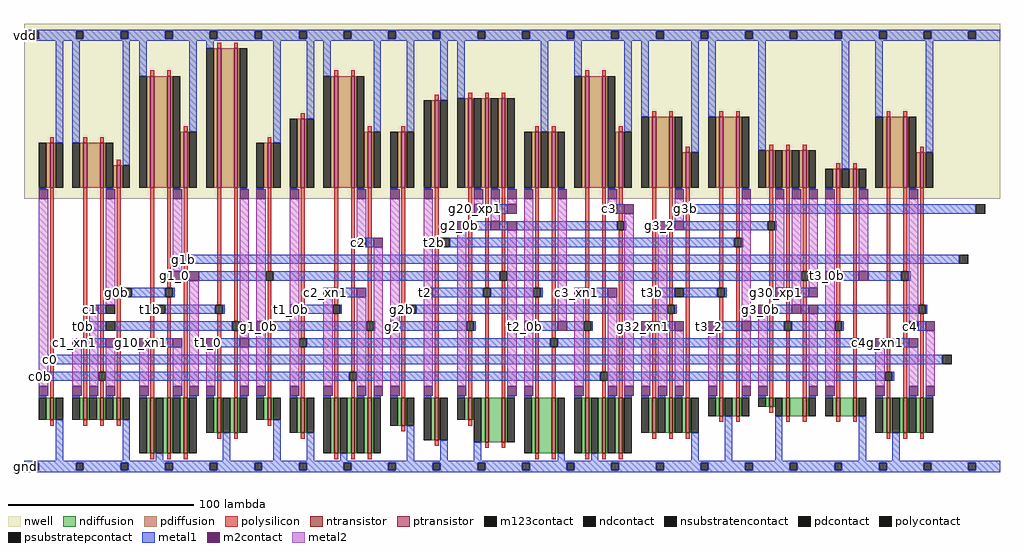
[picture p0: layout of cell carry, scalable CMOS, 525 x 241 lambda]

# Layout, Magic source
magic
tech scmos
<< nwell >>
rect 0 147 525 241
<< ntransistor >>
rect 14 28 16 40
rect 32 28 34 40
rect 41 28 43 40
rect 50 28 52 40
rect 68 10 70 40
rect 77 10 79 40
rect 86 10 88 40
rect 104 21 106 40
rect 113 21 115 40
rect 131 28 133 40
rect 149 21 151 40
rect 167 10 169 40
rect 176 10 178 40
rect 185 10 187 40
rect 203 25 205 40
rect 221 17 223 40
rect 239 28 241 40
rect 248 16 250 40
rect 257 16 259 40
rect 275 10 277 40
rect 284 10 286 40
rect 302 10 304 40
rect 311 10 313 40
rect 320 10 322 40
rect 338 21 340 40
rect 347 21 349 40
rect 356 21 358 40
rect 374 30 376 40
rect 383 30 385 40
rect 401 35 403 40
rect 410 30 412 40
rect 419 30 421 40
rect 437 30 439 40
rect 446 30 448 40
rect 464 21 466 40
rect 473 21 475 40
rect 482 21 484 40
<< ptransistor >>
rect 14 153 16 177
rect 32 153 34 177
rect 41 153 43 177
rect 50 153 52 165
rect 68 153 70 213
rect 77 153 79 213
rect 86 153 88 183
rect 104 153 106 228
rect 113 153 115 228
rect 131 153 133 177
rect 149 153 151 190
rect 167 153 169 213
rect 176 153 178 213
rect 185 153 187 183
rect 203 153 205 183
rect 221 153 223 200
rect 239 153 241 201
rect 248 153 250 201
rect 257 153 259 201
rect 275 153 277 183
rect 284 153 286 183
rect 302 153 304 213
rect 311 153 313 213
rect 320 153 322 183
rect 338 153 340 191
rect 347 153 349 191
rect 356 153 358 172
rect 374 153 376 191
rect 383 153 385 191
rect 401 153 403 173
rect 410 153 412 173
rect 419 153 421 173
rect 437 153 439 163
rect 446 153 448 163
rect 464 153 466 191
rect 473 153 475 191
rect 482 153 484 172
<< ndiffusion >>
rect 12 28 14 40
rect 16 28 17 40
rect 30 28 32 40
rect 34 28 35 40
rect 39 28 41 40
rect 43 28 44 40
rect 48 28 50 40
rect 52 28 53 40
rect 66 10 68 40
rect 70 10 71 40
rect 75 10 77 40
rect 79 10 80 40
rect 84 10 86 40
rect 88 10 89 40
rect 102 21 104 40
rect 106 21 107 40
rect 111 21 113 40
rect 115 21 116 40
rect 129 28 131 40
rect 133 28 134 40
rect 147 21 149 40
rect 151 21 152 40
rect 165 10 167 40
rect 169 10 170 40
rect 174 10 176 40
rect 178 10 179 40
rect 183 10 185 40
rect 187 10 188 40
rect 201 25 203 40
rect 205 25 206 40
rect 219 17 221 40
rect 223 17 224 40
rect 237 28 239 40
rect 241 28 242 40
rect 246 16 248 40
rect 250 16 257 40
rect 259 16 260 40
rect 273 10 275 40
rect 277 10 284 40
rect 286 10 287 40
rect 300 10 302 40
rect 304 10 305 40
rect 309 10 311 40
rect 313 10 314 40
rect 318 10 320 40
rect 322 10 323 40
rect 336 21 338 40
rect 340 21 341 40
rect 345 21 347 40
rect 349 21 350 40
rect 354 21 356 40
rect 358 21 359 40
rect 372 30 374 40
rect 376 30 377 40
rect 381 30 383 40
rect 385 30 386 40
rect 399 35 401 40
rect 403 35 404 40
rect 408 30 410 40
rect 412 30 419 40
rect 421 30 422 40
rect 435 30 437 40
rect 439 30 446 40
rect 448 30 449 40
rect 462 21 464 40
rect 466 21 467 40
rect 471 21 473 40
rect 475 21 476 40
rect 480 21 482 40
rect 484 21 485 40
<< pdiffusion >>
rect 12 153 14 177
rect 16 153 17 177
rect 30 153 32 177
rect 34 153 41 177
rect 43 153 44 177
rect 48 153 50 165
rect 52 153 53 165
rect 66 153 68 213
rect 70 153 77 213
rect 79 153 80 213
rect 84 153 86 183
rect 88 153 89 183
rect 102 153 104 228
rect 106 153 113 228
rect 115 153 116 228
rect 129 153 131 177
rect 133 153 134 177
rect 147 153 149 190
rect 151 153 152 190
rect 165 153 167 213
rect 169 153 176 213
rect 178 153 179 213
rect 183 153 185 183
rect 187 153 188 183
rect 201 153 203 183
rect 205 153 206 183
rect 219 153 221 200
rect 223 153 224 200
rect 237 153 239 201
rect 241 153 242 201
rect 246 153 248 201
rect 250 153 251 201
rect 255 153 257 201
rect 259 153 260 201
rect 273 153 275 183
rect 277 153 278 183
rect 282 153 284 183
rect 286 153 287 183
rect 300 153 302 213
rect 304 153 311 213
rect 313 153 314 213
rect 318 153 320 183
rect 322 153 323 183
rect 336 153 338 191
rect 340 153 347 191
rect 349 153 350 191
rect 354 153 356 172
rect 358 153 359 172
rect 372 153 374 191
rect 376 153 383 191
rect 385 153 386 191
rect 399 153 401 173
rect 403 153 404 173
rect 408 153 410 173
rect 412 153 413 173
rect 417 153 419 173
rect 421 153 422 173
rect 435 153 437 163
rect 439 153 440 163
rect 444 153 446 163
rect 448 153 449 163
rect 462 153 464 191
rect 466 153 473 191
rect 475 153 476 191
rect 480 153 482 172
rect 484 153 485 172
<< ndcontact >>
rect 8 28 12 40
rect 17 28 21 40
rect 26 28 30 40
rect 35 28 39 40
rect 44 28 48 40
rect 53 28 57 40
rect 62 10 66 40
rect 71 10 75 40
rect 80 10 84 40
rect 89 10 93 40
rect 98 21 102 40
rect 107 21 111 40
rect 116 21 120 40
rect 125 28 129 40
rect 134 28 138 40
rect 143 21 147 40
rect 152 21 156 40
rect 161 10 165 40
rect 170 10 174 40
rect 179 10 183 40
rect 188 10 192 40
rect 197 25 201 40
rect 206 25 210 40
rect 215 17 219 40
rect 224 17 228 40
rect 233 28 237 40
rect 242 16 246 40
rect 260 16 264 40
rect 269 10 273 40
rect 287 10 291 40
rect 296 10 300 40
rect 305 10 309 40
rect 314 10 318 40
rect 323 10 327 40
rect 332 21 336 40
rect 341 21 345 40
rect 350 21 354 40
rect 359 21 363 40
rect 368 30 372 40
rect 377 30 381 40
rect 386 30 390 40
rect 395 35 399 40
rect 404 30 408 40
rect 422 30 426 40
rect 431 30 435 40
rect 449 30 453 40
rect 458 21 462 40
rect 467 21 471 40
rect 476 21 480 40
rect 485 21 489 40
<< pdcontact >>
rect 8 153 12 177
rect 17 153 21 177
rect 26 153 30 177
rect 44 153 48 177
rect 53 153 57 165
rect 62 153 66 213
rect 80 153 84 213
rect 89 153 93 183
rect 98 153 102 228
rect 116 153 120 228
rect 125 153 129 177
rect 134 153 138 177
rect 143 153 147 190
rect 152 153 156 190
rect 161 153 165 213
rect 179 153 183 213
rect 188 153 192 183
rect 197 153 201 183
rect 206 153 210 183
rect 215 153 219 200
rect 224 153 228 200
rect 233 153 237 201
rect 242 153 246 201
rect 251 153 255 201
rect 260 153 264 201
rect 269 153 273 183
rect 278 153 282 183
rect 287 153 291 183
rect 296 153 300 213
rect 314 153 318 213
rect 323 153 327 183
rect 332 153 336 191
rect 350 153 354 191
rect 359 153 363 172
rect 368 153 372 191
rect 386 153 390 191
rect 395 153 399 173
rect 404 153 408 173
rect 413 153 417 173
rect 422 153 426 173
rect 431 153 435 163
rect 440 153 444 163
rect 449 153 453 163
rect 458 153 462 191
rect 476 153 480 191
rect 485 153 489 172
<< psubstratepcontact >>
rect 4 1 8 5
rect 28 1 32 5
rect 52 1 56 5
rect 76 1 80 5
rect 100 1 104 5
rect 124 1 128 5
rect 148 1 152 5
rect 172 1 176 5
rect 196 1 200 5
rect 220 1 224 5
rect 244 1 248 5
rect 268 1 272 5
rect 292 1 296 5
rect 316 1 320 5
rect 340 1 344 5
rect 364 1 368 5
rect 388 1 392 5
rect 412 1 416 5
rect 436 1 440 5
rect 460 1 464 5
rect 484 1 488 5
rect 508 1 512 5
<< nsubstratencontact >>
rect 4 233 8 237
rect 28 233 32 237
rect 52 233 56 237
rect 76 233 80 237
rect 100 233 104 237
rect 124 233 128 237
rect 148 233 152 237
rect 172 233 176 237
rect 196 233 200 237
rect 220 233 224 237
rect 244 233 248 237
rect 268 233 272 237
rect 292 233 296 237
rect 316 233 320 237
rect 340 233 344 237
rect 364 233 368 237
rect 388 233 392 237
rect 412 233 416 237
rect 436 233 440 237
rect 460 233 464 237
rect 484 233 488 237
rect 508 233 512 237
<< polysilicon >>
rect 104 228 106 231
rect 113 228 115 231
rect 68 213 70 216
rect 77 213 79 216
rect 14 177 16 180
rect 32 177 34 180
rect 41 177 43 180
rect 50 165 52 168
rect 86 183 88 186
rect 167 213 169 216
rect 176 213 178 216
rect 302 213 304 216
rect 311 213 313 216
rect 149 190 151 193
rect 131 177 133 180
rect 221 200 223 203
rect 239 201 241 204
rect 248 201 250 204
rect 257 201 259 204
rect 185 183 187 186
rect 203 183 205 186
rect 275 183 277 186
rect 284 183 286 186
rect 338 191 340 194
rect 347 191 349 194
rect 374 191 376 194
rect 383 191 385 194
rect 464 191 466 194
rect 473 191 475 194
rect 320 183 322 186
rect 356 172 358 175
rect 401 173 403 176
rect 410 173 412 176
rect 419 173 421 176
rect 437 163 439 166
rect 446 163 448 166
rect 482 172 484 175
rect 14 63 16 153
rect 32 81 34 153
rect 14 40 16 58
rect 32 40 34 76
rect 41 54 43 153
rect 50 99 52 153
rect 41 40 43 49
rect 50 40 52 94
rect 68 90 70 153
rect 77 99 79 153
rect 86 117 88 153
rect 68 40 70 85
rect 77 40 79 94
rect 86 40 88 112
rect 104 90 106 153
rect 104 40 106 85
rect 113 81 115 153
rect 131 108 133 153
rect 113 40 115 76
rect 131 40 133 103
rect 149 72 151 153
rect 167 90 169 153
rect 149 40 151 67
rect 167 40 169 85
rect 176 54 178 153
rect 185 81 187 153
rect 203 90 205 153
rect 221 126 223 153
rect 176 40 178 49
rect 185 40 187 76
rect 203 40 205 85
rect 221 40 223 121
rect 239 81 241 153
rect 248 99 250 153
rect 257 108 259 153
rect 239 40 241 76
rect 248 40 250 94
rect 257 40 259 103
rect 275 99 277 153
rect 275 40 277 94
rect 284 72 286 153
rect 302 81 304 153
rect 284 40 286 67
rect 302 40 304 76
rect 311 54 313 153
rect 320 135 322 153
rect 311 40 313 49
rect 320 40 322 130
rect 338 99 340 153
rect 338 40 340 94
rect 347 90 349 153
rect 356 144 358 153
rect 347 40 349 85
rect 356 40 358 139
rect 374 99 376 153
rect 383 126 385 153
rect 401 135 403 153
rect 374 40 376 94
rect 383 40 385 121
rect 401 40 403 130
rect 410 81 412 153
rect 419 108 421 153
rect 410 40 412 76
rect 419 40 421 103
rect 437 81 439 153
rect 437 40 439 76
rect 446 72 448 153
rect 446 40 448 67
rect 464 54 466 153
rect 473 108 475 153
rect 464 40 466 49
rect 473 40 475 103
rect 482 90 484 153
rect 482 40 484 85
rect 14 25 16 28
rect 32 25 34 28
rect 41 25 43 28
rect 50 25 52 28
rect 131 25 133 28
rect 104 18 106 21
rect 113 18 115 21
rect 149 18 151 21
rect 203 22 205 25
rect 239 25 241 28
rect 221 14 223 17
rect 248 13 250 16
rect 257 13 259 16
rect 401 32 403 35
rect 374 27 376 30
rect 383 27 385 30
rect 410 27 412 30
rect 419 27 421 30
rect 437 27 439 30
rect 446 27 448 30
rect 338 18 340 21
rect 347 18 349 21
rect 356 18 358 21
rect 464 18 466 21
rect 473 18 475 21
rect 482 18 484 21
rect 68 7 70 10
rect 77 7 79 10
rect 86 7 88 10
rect 167 7 169 10
rect 176 7 178 10
rect 185 7 187 10
rect 275 7 277 10
rect 284 7 286 10
rect 302 7 304 10
rect 311 7 313 10
rect 320 7 322 10
<< polycontact >>
rect 31 76 35 81
rect 13 58 17 63
rect 49 94 53 99
rect 40 49 44 54
rect 85 112 89 117
rect 76 94 80 99
rect 67 85 71 90
rect 103 85 107 90
rect 130 103 134 108
rect 112 76 116 81
rect 166 85 170 90
rect 148 67 152 72
rect 220 121 224 126
rect 202 85 206 90
rect 184 76 188 81
rect 175 49 179 54
rect 256 103 260 108
rect 247 94 251 99
rect 238 76 242 81
rect 274 94 278 99
rect 301 76 305 81
rect 283 67 287 72
rect 319 130 323 135
rect 310 49 314 54
rect 337 94 341 99
rect 355 139 359 144
rect 346 85 350 90
rect 400 130 404 135
rect 382 121 386 126
rect 373 94 377 99
rect 418 103 422 108
rect 409 76 413 81
rect 436 76 440 81
rect 445 67 449 72
rect 472 103 476 108
rect 463 49 467 54
rect 481 85 485 90
<< metal1 >>
rect 0 237 525 238
rect 0 233 4 237
rect 8 233 28 237
rect 32 233 52 237
rect 56 233 76 237
rect 80 233 100 237
rect 104 233 124 237
rect 128 233 148 237
rect 152 233 172 237
rect 176 233 196 237
rect 200 233 220 237
rect 224 233 244 237
rect 248 233 268 237
rect 272 233 292 237
rect 296 233 316 237
rect 320 233 340 237
rect 344 233 364 237
rect 368 233 388 237
rect 392 233 412 237
rect 416 233 436 237
rect 440 233 460 237
rect 464 233 484 237
rect 488 233 508 237
rect 512 233 525 237
rect 0 232 525 233
rect 17 177 21 232
rect 26 177 30 232
rect 53 165 57 232
rect 62 213 66 232
rect 89 183 93 232
rect 98 228 102 232
rect 134 177 138 232
rect 152 190 156 232
rect 8 152 12 153
rect 44 152 48 153
rect 80 152 84 153
rect 116 152 120 153
rect 161 213 165 232
rect 188 183 192 232
rect 206 183 210 232
rect 224 200 228 232
rect 233 201 237 232
rect 125 152 129 153
rect 143 152 147 153
rect 179 152 183 153
rect 197 152 201 153
rect 215 152 219 153
rect 242 152 246 153
rect 251 152 255 153
rect 278 183 282 232
rect 296 213 300 232
rect 260 152 264 153
rect 323 183 327 232
rect 332 191 336 232
rect 359 172 363 232
rect 368 191 372 232
rect 395 173 399 232
rect 269 152 273 153
rect 287 152 291 153
rect 314 152 318 153
rect 350 152 354 153
rect 386 152 390 153
rect 404 152 408 153
rect 413 152 417 153
rect 440 163 444 232
rect 458 191 462 232
rect 422 152 426 153
rect 485 172 489 232
rect 431 152 435 153
rect 449 152 453 153
rect 476 152 480 153
rect 247 139 260 144
rect 319 139 323 144
rect 359 139 512 144
rect 238 130 251 135
rect 256 130 260 135
rect 265 130 319 135
rect 323 130 324 135
rect 346 130 350 135
rect 355 130 400 135
rect 404 130 405 135
rect 184 121 188 126
rect 229 121 382 126
rect 386 121 387 126
rect 89 112 503 117
rect 85 103 89 108
rect 94 103 130 108
rect 134 103 256 108
rect 260 103 418 108
rect 422 103 423 108
rect 436 103 449 108
rect 454 103 472 108
rect 476 103 477 108
rect 58 94 76 99
rect 80 94 81 99
rect 166 94 179 99
rect 220 94 247 99
rect 251 94 274 99
rect 278 94 279 99
rect 301 94 314 99
rect 341 94 350 99
rect 355 94 373 99
rect 377 94 378 99
rect 409 94 422 99
rect 40 85 44 90
rect 76 85 103 90
rect 107 85 108 90
rect 148 85 166 90
rect 170 85 171 90
rect 211 85 346 90
rect 350 85 351 90
rect 400 85 413 90
rect 418 85 422 90
rect 427 85 481 90
rect 485 85 486 90
rect 35 76 44 81
rect 49 76 112 81
rect 116 76 117 81
rect 130 76 184 81
rect 188 76 189 81
rect 202 76 238 81
rect 242 76 243 81
rect 274 76 287 81
rect 292 76 301 81
rect 305 76 306 81
rect 337 76 350 81
rect 373 76 386 81
rect 391 76 409 81
rect 413 76 436 81
rect 440 76 441 81
rect 481 76 485 81
rect 31 67 44 72
rect 67 67 80 72
rect 103 67 116 72
rect 121 67 148 72
rect 152 67 283 72
rect 287 67 445 72
rect 449 67 450 72
rect 463 67 476 72
rect 17 58 494 63
rect 13 49 40 54
rect 44 49 175 54
rect 179 49 310 54
rect 314 49 463 54
rect 467 49 468 54
rect 8 40 12 41
rect 26 40 30 41
rect 35 40 39 41
rect 44 40 48 41
rect 62 40 66 41
rect 80 40 84 41
rect 17 6 21 28
rect 53 6 57 28
rect 89 40 93 41
rect 98 40 102 41
rect 116 40 120 41
rect 125 40 129 41
rect 143 40 147 41
rect 161 40 165 41
rect 179 40 183 41
rect 71 6 75 10
rect 107 6 111 21
rect 134 6 138 28
rect 152 6 156 21
rect 188 40 192 41
rect 197 40 201 41
rect 215 40 219 41
rect 233 40 237 41
rect 260 40 264 41
rect 170 6 174 10
rect 206 6 210 25
rect 224 6 228 17
rect 269 40 273 41
rect 296 40 300 41
rect 314 40 318 41
rect 242 6 246 16
rect 323 40 327 41
rect 332 40 336 41
rect 341 40 345 41
rect 350 40 354 41
rect 368 40 372 41
rect 386 40 390 41
rect 395 40 399 41
rect 422 40 426 41
rect 431 40 435 41
rect 458 40 462 41
rect 476 40 480 41
rect 287 6 291 10
rect 305 6 309 10
rect 359 6 363 21
rect 377 6 381 30
rect 404 6 408 30
rect 449 6 453 30
rect 485 40 489 41
rect 467 6 471 21
rect 0 5 525 6
rect 0 1 4 5
rect 8 1 28 5
rect 32 1 52 5
rect 56 1 76 5
rect 80 1 100 5
rect 104 1 124 5
rect 128 1 148 5
rect 152 1 172 5
rect 176 1 196 5
rect 200 1 220 5
rect 224 1 244 5
rect 248 1 268 5
rect 272 1 292 5
rect 296 1 316 5
rect 320 1 340 5
rect 344 1 364 5
rect 368 1 388 5
rect 392 1 412 5
rect 416 1 436 5
rect 440 1 460 5
rect 464 1 484 5
rect 488 1 508 5
rect 512 1 525 5
rect 0 0 525 1
<< m2contact >>
rect 8 147 13 152
rect 44 147 49 152
rect 80 147 85 152
rect 116 147 121 152
rect 125 147 130 152
rect 143 147 148 152
rect 179 147 184 152
rect 197 147 202 152
rect 215 147 220 152
rect 242 147 247 152
rect 251 147 256 152
rect 260 147 265 152
rect 269 147 274 152
rect 287 147 292 152
rect 314 147 319 152
rect 350 147 355 152
rect 386 147 391 152
rect 404 147 409 152
rect 413 147 418 152
rect 422 147 427 152
rect 431 147 436 152
rect 449 147 454 152
rect 476 147 481 152
rect 242 139 247 144
rect 260 139 265 144
rect 323 139 328 144
rect 233 130 238 135
rect 251 130 256 135
rect 260 130 265 135
rect 341 130 346 135
rect 350 130 355 135
rect 188 121 193 126
rect 80 103 85 108
rect 89 103 94 108
rect 431 103 436 108
rect 449 103 454 108
rect 161 94 166 99
rect 179 94 184 99
rect 215 94 220 99
rect 296 94 301 99
rect 314 94 319 99
rect 404 94 409 99
rect 422 94 427 99
rect 35 85 40 90
rect 143 85 148 90
rect 395 85 400 90
rect 413 85 418 90
rect 422 85 427 90
rect 125 76 130 81
rect 197 76 202 81
rect 269 76 274 81
rect 287 76 292 81
rect 332 76 337 81
rect 350 76 355 81
rect 368 76 373 81
rect 386 76 391 81
rect 485 76 490 81
rect 26 67 31 72
rect 44 67 49 72
rect 62 67 67 72
rect 80 67 85 72
rect 98 67 103 72
rect 116 67 121 72
rect 458 67 463 72
rect 476 67 481 72
rect 8 49 13 54
rect 8 41 13 46
rect 26 41 31 46
rect 35 41 40 46
rect 44 41 49 46
rect 62 41 67 46
rect 80 41 85 46
rect 89 41 94 46
rect 98 41 103 46
rect 116 41 121 46
rect 125 41 130 46
rect 143 41 148 46
rect 161 41 166 46
rect 179 41 184 46
rect 188 41 193 46
rect 197 41 202 46
rect 215 41 220 46
rect 233 41 238 46
rect 260 41 265 46
rect 269 41 274 46
rect 296 41 301 46
rect 314 41 319 46
rect 323 41 328 46
rect 332 41 337 46
rect 341 41 346 46
rect 350 41 355 46
rect 368 41 373 46
rect 386 41 391 46
rect 395 41 400 46
rect 422 41 427 46
rect 431 41 436 46
rect 458 41 463 46
rect 476 41 481 46
rect 485 41 490 46
<< metal2 >>
rect 8 54 13 147
rect 44 90 49 147
rect 80 108 85 147
rect 8 46 13 49
rect 26 46 31 67
rect 35 46 40 85
rect 44 46 49 67
rect 62 46 67 67
rect 80 46 85 67
rect 89 46 94 103
rect 116 72 121 147
rect 98 46 103 67
rect 116 46 121 67
rect 125 81 130 147
rect 125 46 130 76
rect 143 90 148 147
rect 179 126 184 147
rect 143 46 148 85
rect 161 46 166 94
rect 179 46 184 94
rect 188 46 193 121
rect 197 81 202 147
rect 215 99 220 147
rect 242 144 247 147
rect 251 135 256 147
rect 260 144 265 147
rect 197 46 202 76
rect 215 46 220 94
rect 233 46 238 130
rect 260 46 265 130
rect 269 81 274 147
rect 287 81 292 147
rect 314 144 319 147
rect 269 46 274 76
rect 296 46 301 94
rect 314 46 319 94
rect 323 46 328 139
rect 350 135 355 147
rect 332 46 337 76
rect 341 46 346 130
rect 386 81 391 147
rect 404 99 409 147
rect 413 90 418 147
rect 422 99 427 147
rect 431 108 436 147
rect 449 108 454 147
rect 350 46 355 76
rect 368 46 373 76
rect 386 46 391 76
rect 395 46 400 85
rect 422 46 427 85
rect 431 46 436 103
rect 476 81 481 147
rect 458 46 463 67
rect 476 46 481 67
rect 485 46 490 76
<< m123contact >>
rect 53 94 58 99
rect 44 85 49 90
rect 71 85 76 90
rect 44 76 49 81
rect 179 121 184 126
rect 224 121 229 126
rect 206 85 211 90
rect 314 139 319 144
rect 350 94 355 99
rect 512 139 517 144
rect 503 112 508 117
rect 476 76 481 81
rect 494 58 499 63
<< labels >>
rlabel metal1 13 58 15 63 0 c0
port 1 nsew
rlabel m2contact 35 85 37 90 0 c1
port 2 nsew
rlabel metal1 179 121 181 126 0 c2
port 3 nsew
rlabel metal1 314 139 316 144 0 c3
port 4 nsew
rlabel metal1 476 76 478 81 0 c4
port 5 nsew
rlabel metal1 49 94 51 99 0 g0b
port 6 nsew
rlabel metal1 85 112 87 117 0 g1b
port 7 nsew
rlabel metal1 202 85 204 90 0 g2b
port 8 nsew
rlabel metal1 355 139 357 144 0 g3b
port 9 nsew
rlabel metal1 31 76 33 81 0 t0b
port 10 nsew
rlabel metal1 67 85 69 90 0 t1b
port 11 nsew
rlabel metal1 220 121 222 126 0 t2b
port 12 nsew
rlabel metal1 337 94 339 99 0 t3b
port 13 nsew
rlabel m2contact 8 49 10 54 0 c0b
rlabel m2contact 26 67 28 72 0 c1_xn1
rlabel m2contact 161 94 163 99 0 c2_xn1
rlabel m2contact 296 94 298 99 0 c3_xn1
rlabel m2contact 458 67 460 72 0 c4g_xn1
rlabel m2contact 62 67 64 72 0 g10_xn1
rlabel m2contact 80 103 82 108 0 g1_0
rlabel m2contact 125 76 127 81 0 g1_0b
rlabel m2contact 197 76 199 81 0 g2
rlabel m2contact 242 139 244 144 0 g20_xp1
rlabel m2contact 233 130 235 135 0 g2_0b
rlabel m2contact 404 94 406 99 0 g30_xp1
rlabel m2contact 332 76 334 81 0 g32_xn1
rlabel m2contact 395 85 397 90 0 g3_0b
rlabel m2contact 341 130 343 135 0 g3_2
rlabel m2contact 98 67 100 72 0 t1_0
rlabel m2contact 143 85 145 90 0 t1_0b
rlabel m2contact 215 94 217 99 0 t2
rlabel m2contact 269 76 271 81 0 t2_0b
rlabel m2contact 431 103 433 108 0 t3_0b
rlabel m2contact 368 76 370 81 0 t3_2
rlabel metal1 0 232 2 238 0 vdd
port 14 nsew
rlabel metal1 0 0 2 6 0 gnd
port 15 nsew
<< end >>
